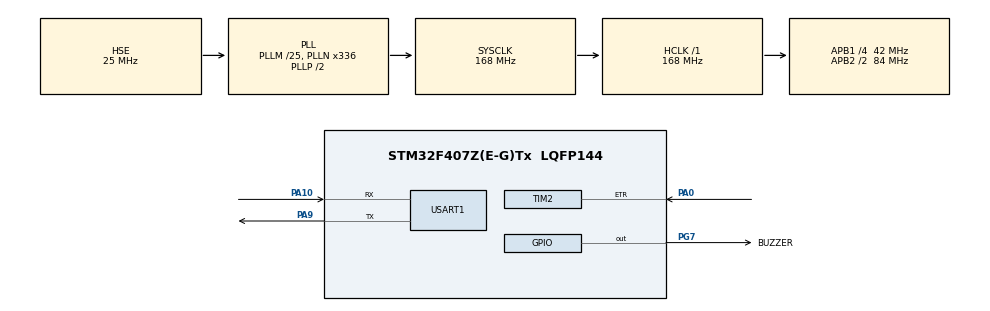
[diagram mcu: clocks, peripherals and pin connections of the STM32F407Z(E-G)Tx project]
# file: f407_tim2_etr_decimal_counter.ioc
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Mcu.Family=STM32F4
Mcu.Name=STM32F407Z(E-G)Tx
Mcu.Package=LQFP144
NVIC.PriorityGroup=NVIC_PRIORITYGROUP_4
NVIC.TIM2_IRQn=true\:0\:0\:false\:false\:true\:true\:true\:true
PA0-WKUP.Signal=S_TIM2_CH1_ETR
PA10.Mode=Asynchronous
PA10.Signal=USART1_RX
PA13.Mode=Serial_Wire
PA13.Signal=SYS_JTMS-SWDIO
PA14.Mode=Serial_Wire
PA14.Signal=SYS_JTCK-SWCLK
PA9.Mode=Asynchronous
PA9.Signal=USART1_TX
PG7.GPIO_Label=BUZZER
PG7.Signal=GPIO_Output
PH0-OSC_IN.Mode=HSE-External-Oscillator
PH0-OSC_IN.Signal=RCC_OSC_IN
PH1-OSC_OUT.Mode=HSE-External-Oscillator
PH1-OSC_OUT.Signal=RCC_OSC_OUT
ProjectManager.HeapSize=0x200
ProjectManager.StackSize=0x400
ProjectManager.TargetToolchain=CMake
RCC.48MHZClocksFreq_Value=84000000
RCC.AHBFreq_Value=168000000
RCC.APB1CLKDivider=RCC_HCLK_DIV4
RCC.APB1Freq_Value=42000000
RCC.APB1TimFreq_Value=84000000
RCC.APB2CLKDivider=RCC_HCLK_DIV2
RCC.APB2Freq_Value=84000000
RCC.APB2TimFreq_Value=168000000
RCC.CortexFreq_Value=168000000
RCC.HCLKFreq_Value=168000000
RCC.HSE_VALUE=25000000
RCC.HSI_VALUE=16000000
RCC.LSE_VALUE=32768
RCC.PLLM=25
RCC.PLLN=336
RCC.PLLSourceVirtual=RCC_PLLSOURCE_HSE
RCC.SYSCLKFreq_VALUE=168000000
RCC.SYSCLKSource=RCC_SYSCLKSOURCE_PLLCLK
RCC.VCOOutputFreq_Value=336000000
SH.S_TIM2_CH1_ETR.0=TIM2_ETR,ClockSourceETR_Mode2
TIM2.ClockFilter=10
TIM2.Period=9
USART1.VirtualMode=VM_ASYNC
board=custom

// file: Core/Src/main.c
/* USER CODE BEGIN Header */
/**
  ******************************************************************************
  * @file           : main.c
  * @brief          : Main program body
  ******************************************************************************
  * @attention
  *
  * Copyright (c) 2026 STMicroelectronics.
  * All rights reserved.
  *
  * This software is licensed under terms that can be found in the LICENSE file
  * in the root directory of this software component.
  * If no LICENSE file comes with this software, it is provided AS-IS.
  *
  ******************************************************************************
  */
/* USER CODE END Header */
#include "main.h"

/* USER CODE BEGIN Includes */
#include <stdio.h>
/* USER CODE END Includes */

TIM_HandleTypeDef htim2;

UART_HandleTypeDef huart1;

/* USER CODE BEGIN PV */
/*
 * NUM是十位进位计数。
 * TIM2每累计10个外部脉冲，产生一次更新中断，NUM加1。
 */
static volatile uint32_t num = 0U;

/* 用于判断TIM2计数值是否发生变化 */
static uint32_t last_cnt = 0U;
static uint32_t last_num = 0U;

/* 非阻塞蜂鸣器状态 */
static uint8_t buzzer_active = 0U;
static uint32_t buzzer_start_ms = 0U;
/* USER CODE END PV */

void SystemClock_Config(void);
static void MX_GPIO_Init(void);
static void MX_TIM2_Init(void);
static void MX_USART1_UART_Init(void);
/* USER CODE BEGIN PFP */
static void Buzzer_Start(uint32_t duration_ms);
static void Buzzer_Update(void);
static void Counter_Log(uint32_t current_num, uint32_t current_cnt);
/* USER CODE END PFP */

int main(void)
{

  /* MCU Configuration--------------------------------------------------------*/

  /* Reset of all peripherals, Initializes the Flash interface and the Systick. */
  HAL_Init();

  /* Configure the system clock */
  SystemClock_Config();

  /* Initialize all configured peripherals */
  MX_GPIO_Init();
  MX_TIM2_Init();
  MX_USART1_UART_Init();
  /* USER CODE BEGIN 2 */
  /* 确保蜂鸣器初始关闭 */
HAL_GPIO_WritePin(
    BUZZER_GPIO_Port,
    BUZZER_Pin,
    GPIO_PIN_RESET);

/* 从0开始进行外部脉冲计数 */
__HAL_TIM_SET_COUNTER(&htim2, 0U);

/*
 * 启动TIM2和更新中断。
 * 计数时钟来自PA0上的KEY1脉冲，不是内部84MHz时钟。
 */
if (HAL_TIM_Base_Start_IT(&htim2) != HAL_OK)
{
  Error_Handler();
}

/* 输出初始值 */
Counter_Log(0U, 0U);
  /* USER CODE END 2 */

  /* Infinite loop */
  while (1)
  {
      uint32_t current_cnt;
uint32_t current_num;

/* 读取TIM2当前硬件计数值 */
current_cnt = __HAL_TIM_GET_COUNTER(&htim2);

/* num会在中断中改变，因此取得一个短暂快照 */
__disable_irq();
current_num = num;
__enable_irq();

/* CNT或NUM变化，说明出现了一次新的计数事件 */
if ((current_cnt != last_cnt) ||
    (current_num != last_num))
{
  /* 保存当前值，防止同一个值重复处理 */
  last_cnt = current_cnt;
  last_num = current_num;

  /* 每次按键后蜂鸣器响100ms */
  Buzzer_Start(100U);

  /* 发送NUM、CNT、TOTAL到串口 */
  Counter_Log(current_num, current_cnt);
}

/* 非阻塞检查蜂鸣器是否需要关闭 */
Buzzer_Update();
  }
}

void SystemClock_Config(void)
{
  RCC_OscInitTypeDef RCC_OscInitStruct = {0};
  RCC_ClkInitTypeDef RCC_ClkInitStruct = {0};

  /** Configure the main internal regulator output voltage
  */
  __HAL_RCC_PWR_CLK_ENABLE();
  __HAL_PWR_VOLTAGESCALING_CONFIG(PWR_REGULATOR_VOLTAGE_SCALE1);

  /** Initializes the RCC Oscillators according to the specified parameters
  * in the RCC_OscInitTypeDef structure.
  */
  RCC_OscInitStruct.OscillatorType = RCC_OSCILLATORTYPE_HSE;
  RCC_OscInitStruct.HSEState = RCC_HSE_ON;
  RCC_OscInitStruct.PLL.PLLState = RCC_PLL_ON;
  RCC_OscInitStruct.PLL.PLLSource = RCC_PLLSOURCE_HSE;
  RCC_OscInitStruct.PLL.PLLM = 25;
  RCC_OscInitStruct.PLL.PLLN = 336;
  RCC_OscInitStruct.PLL.PLLP = RCC_PLLP_DIV2;
  RCC_OscInitStruct.PLL.PLLQ = 4;
  if (HAL_RCC_OscConfig(&RCC_OscInitStruct) != HAL_OK)
  {
    Error_Handler();
  }

  /** Initializes the CPU, AHB and APB buses clocks
  */
  RCC_ClkInitStruct.ClockType = RCC_CLOCKTYPE_HCLK|RCC_CLOCKTYPE_SYSCLK
                              |RCC_CLOCKTYPE_PCLK1|RCC_CLOCKTYPE_PCLK2;
  RCC_ClkInitStruct.SYSCLKSource = RCC_SYSCLKSOURCE_PLLCLK;
  RCC_ClkInitStruct.AHBCLKDivider = RCC_SYSCLK_DIV1;
  RCC_ClkInitStruct.APB1CLKDivider = RCC_HCLK_DIV4;
  RCC_ClkInitStruct.APB2CLKDivider = RCC_HCLK_DIV2;

  if (HAL_RCC_ClockConfig(&RCC_ClkInitStruct, FLASH_LATENCY_5) != HAL_OK)
  {
    Error_Handler();
  }
}

static void MX_TIM2_Init(void)
{

  TIM_ClockConfigTypeDef sClockSourceConfig = {0};
  TIM_MasterConfigTypeDef sMasterConfig = {0};

  htim2.Instance = TIM2;
  htim2.Init.Prescaler = 0;
  htim2.Init.CounterMode = TIM_COUNTERMODE_UP;
  htim2.Init.Period = 9;
  htim2.Init.ClockDivision = TIM_CLOCKDIVISION_DIV1;
  htim2.Init.AutoReloadPreload = TIM_AUTORELOAD_PRELOAD_DISABLE;
  if (HAL_TIM_Base_Init(&htim2) != HAL_OK)
  {
    Error_Handler();
  }
  sClockSourceConfig.ClockSource = TIM_CLOCKSOURCE_ETRMODE2;
  sClockSourceConfig.ClockPolarity = TIM_CLOCKPOLARITY_NONINVERTED;
  sClockSourceConfig.ClockPrescaler = TIM_CLOCKPRESCALER_DIV1;
  sClockSourceConfig.ClockFilter = 10;
  if (HAL_TIM_ConfigClockSource(&htim2, &sClockSourceConfig) != HAL_OK)
  {
    Error_Handler();
  }
  sMasterConfig.MasterOutputTrigger = TIM_TRGO_RESET;
  sMasterConfig.MasterSlaveMode = TIM_MASTERSLAVEMODE_DISABLE;
  if (HAL_TIMEx_MasterConfigSynchronization(&htim2, &sMasterConfig) != HAL_OK)
  {
    Error_Handler();
  }

}

static void MX_USART1_UART_Init(void)
{

  huart1.Instance = USART1;
  huart1.Init.BaudRate = 115200;
  huart1.Init.WordLength = UART_WORDLENGTH_8B;
  huart1.Init.StopBits = UART_STOPBITS_1;
  huart1.Init.Parity = UART_PARITY_NONE;
  huart1.Init.Mode = UART_MODE_TX_RX;
  huart1.Init.HwFlowCtl = UART_HWCONTROL_NONE;
  huart1.Init.OverSampling = UART_OVERSAMPLING_16;
  if (HAL_UART_Init(&huart1) != HAL_OK)
  {
    Error_Handler();
  }

}

static void MX_GPIO_Init(void)
{
  GPIO_InitTypeDef GPIO_InitStruct = {0};

  /* GPIO Ports Clock Enable */
  __HAL_RCC_GPIOH_CLK_ENABLE();
  __HAL_RCC_GPIOA_CLK_ENABLE();
  __HAL_RCC_GPIOG_CLK_ENABLE();

  /*Configure GPIO pin Output Level */
  HAL_GPIO_WritePin(BUZZER_GPIO_Port, BUZZER_Pin, GPIO_PIN_RESET);

  /*Configure GPIO pin : BUZZER_Pin */
  GPIO_InitStruct.Pin = BUZZER_Pin;
  GPIO_InitStruct.Mode = GPIO_MODE_OUTPUT_PP;
  GPIO_InitStruct.Pull = GPIO_NOPULL;
  GPIO_InitStruct.Speed = GPIO_SPEED_FREQ_LOW;
  HAL_GPIO_Init(BUZZER_GPIO_Port, &GPIO_InitStruct);

}

/* USER CODE BEGIN 4 */
/**
 * @brief TIM2计满10次后的更新中断回调
 */
void HAL_TIM_PeriodElapsedCallback(TIM_HandleTypeDef *htim)
{
  if (htim->Instance == TIM2)
  {
    /*
     * ARR=9，CNT依次为0~9。
     * 第10个外部脉冲到来时CNT自动回到0，
     * 同时产生更新中断，在这里完成NUM进位。
     */
    num++;
  }
}

/**
 * @brief 启动一次非阻塞蜂鸣
 */
static void Buzzer_Start(uint32_t duration_ms)
{
  (void)duration_ms;

  HAL_GPIO_WritePin(
      BUZZER_GPIO_Port,
      BUZZER_Pin,
      GPIO_PIN_SET);

  buzzer_start_ms = HAL_GetTick();
  buzzer_active = 1U;
}

/**
 * @brief 检查蜂鸣器是否已经响够100ms
 */
static void Buzzer_Update(void)
{
  if (buzzer_active != 0U)
  {
    if ((uint32_t)(HAL_GetTick() - buzzer_start_ms) >= 100U)
    {
      HAL_GPIO_WritePin(
          BUZZER_GPIO_Port,
          BUZZER_Pin,
          GPIO_PIN_RESET);

      buzzer_active = 0U;
    }
  }
}

/**
 * @brief 向电脑输出NUM、CNT和总次数
 */
static void Counter_Log(
    uint32_t current_num,
    uint32_t current_cnt)
{
  char message[100];
  int length;
  uint32_t total;

  total = current_num * 10U + current_cnt;

  length = snprintf(
      message,
      sizeof(message),
      "NUM = %lu, CNT = %lu, TOTAL = %lu\r\n",
      (unsigned long)current_num,
      (unsigned long)current_cnt,
      (unsigned long)total);

  if (length > 0)
  {
    HAL_UART_Transmit(
        &huart1,
        (uint8_t *)message,
        (uint16_t)length,
        100U);
  }
}
/* USER CODE END 4 */

void Error_Handler(void)
{
  __disable_irq();
  while (1)
  {
  }
}
